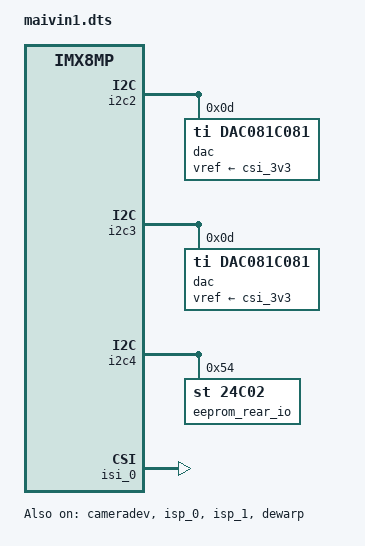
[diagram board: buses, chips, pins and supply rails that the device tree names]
// SPDX-License-Identifier: AGPL-3.0
/*
 * Copyright 2023 Au-Zone Technologies
 */

// Maivin 1 Overlays

/dts-v1/;
/plugin/;

#include <dt-bindings/clock/imx8mp-clock.h>
#include <dt-bindings/gpio/gpio.h>

#include "imx8mp-pinfunc.h"

/ {
	compatible = "toradex,verdin-imx8mp";
};

/* Verdin I2C_2 */
&i2c2 {
	#address-cells = <1>;
	#size-cells = <0>;
	status = "okay";

	dac@d {
		compatible = "ti,dac081c081", "ti,dac5571";
		reg = <0x0d>;
		vref-supply = <&csi_3v3>;
	};
};

/* Verdin I2C_4 */
&i2c3 {
	#address-cells = <1>;
	#size-cells = <0>;
	status = "okay";

	dac@d {
		compatible = "ti,dac081c081", "ti,dac5571";
		reg = <0x0d>;
		vref-supply = <&csi_3v3>;
	};
};

/* Verdin I2C_1 */
&i2c4 {
	#address-cells = <1>;
	#size-cells = <0>;
	status = "okay";

	eeprom_rear_io: eeprom@54 {
		compatible = "st,24c02";
		pagesize = <16>;
		reg = <0x54>;
	};
};

&cameradev {
	status = "okay";
};

&isp_0 {
	status = "okay";
};

&isp_1 {
	status = "okay";
};

&dewarp {
	status = "okay";
};

&isi_0 {
	status = "okay";

	cap_device {
		status = "okay";
	};

};

&iomuxc {
	/* Rear IO */
	pinctrl_rear_io: rear_io {
		fsl,pins =
			<MX8MP_IOMUXC_NAND_READY_B__GPIO3_IO16		0x82>,	/* SODIMM 64  - SW1  - User Input Button */
			<MX8MP_IOMUXC_NAND_DQS__GPIO3_IO14		0x82>,	/* SODIMM 66  - LED1 - LED Output */
			<MX8MP_IOMUXC_GPIO1_IO00__GPIO1_IO00		0x82>,	/* SODIMM 206 - IO1  - Input 1 */
			<MX8MP_IOMUXC_GPIO1_IO01__GPIO1_IO01		0x82>,	/* SODIMM 208 - IO2  - Input 2 */
			<MX8MP_IOMUXC_GPIO1_IO05__GPIO1_IO05		0x82>,	/* SODIMM 210 - IO3  - Output 1 */
			<MX8MP_IOMUXC_GPIO1_IO06__GPIO1_IO06		0x82>;	/* SODIMM 212 - IO4  - Output 2 */
	};

	/* LED Drivers */
	pinctrl_led_drivers: led_drivers {
		fsl,pins =
			<MX8MP_IOMUXC_SPDIF_EXT_CLK__GPIO5_IO05		0x184>,	/* SODIMM 15 - LED1_EN */
			<MX8MP_IOMUXC_GPIO1_IO11__GPIO1_IO11		0x184>,	/* SODIMM 16 - LED2_EN */
			<MX8MP_IOMUXC_NAND_DATA02__GPIO3_IO08		0x82>;	/* SODIMM 60 - LED_WDI */
	};

	/* CSI-1 Controls */
	pinctrl_csi1_control: csi1_control {
		fsl,pins =
			<MX8MP_IOMUXC_SAI3_TXD__GPIO5_IO01		0x142>,	/* SODIMM 46  - CSI1_IO2 Direction */
			<MX8MP_IOMUXC_SAI3_RXD__GPIO4_IO30		0x142>,	/* SODIMM 48  - CSI1_IO1 Direction */
			<MX8MP_IOMUXC_GPIO1_IO07__GPIO1_IO07		0x184>,	/* SODIMM 216 - CSI1_IO1 Flash Input */
			<MX8MP_IOMUXC_SAI1_RXD1__GPIO4_IO03		0x184>;	/* SODIMM 220 - CSI1_IO2 Triger Output */
	};

	/* CSI-2 Controls */
	pinctrl_csi2_control: csi2_control {
		fsl,pins =
			<MX8MP_IOMUXC_SAI3_TXC__GPIO5_IO00		0x142>,	/* SODIMM 42  - CSI2_IO2 Direction */
			<MX8MP_IOMUXC_SAI3_TXFS__GPIO4_IO31		0x142>,	/* SODIMM 44  - CSI2_IO1 Direction */
			<MX8MP_IOMUXC_GPIO1_IO08__GPIO1_IO08		0x184>,	/* SODIMM 218 - CSI2_IO1 Flash Input */
			<MX8MP_IOMUXC_SAI1_RXC__GPIO4_IO01		0x184>;	/* SODIMM 222 - CSI2_IO2 Trigger Output */
	};
};
